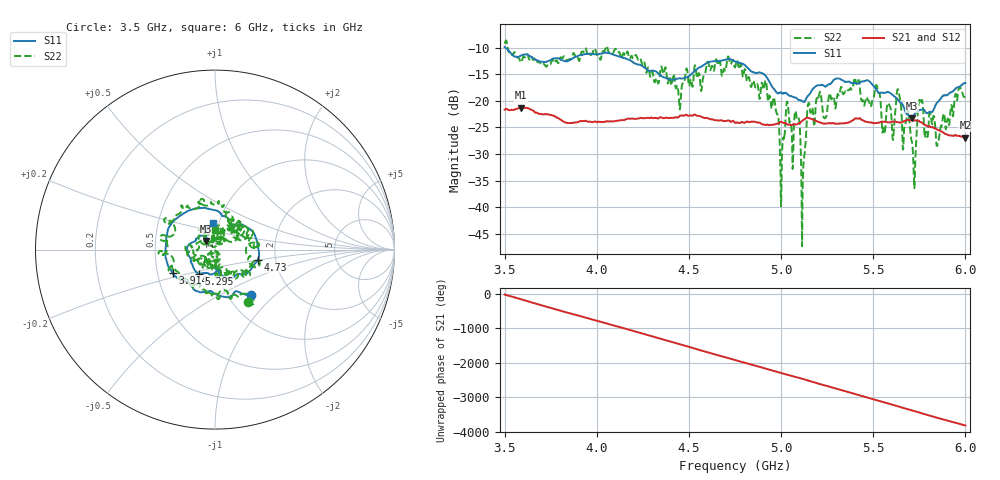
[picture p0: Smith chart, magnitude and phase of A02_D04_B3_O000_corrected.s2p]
! Created with skrf 1.9.0 (http://scikit-rf.org).
# Hz S RI R 50.0
!freq ReS11 ImS11 ReS21 ImS21 ReS12 ImS12 ReS22 ImS22
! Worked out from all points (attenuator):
!   1601 points, 3.5 GHz to 6 GHz, reference 50 ohm
!   highest |S21| = -21.25 dB at 3.591 GHz (marker M1); lowest = -26.9 dB at 6 GHz (marker M2)
!   lowest |S11| = -23.3 dB at 5.708 GHz (marker M3), VSWR 1.15, Z = 45.2 + j4.42 ohm
!   |S11| at or under -10 dB: 3.506 GHz to end of sweep
!   |S22| runs from -47.4 to -8.6 dB; largest |S21 - S12| = 0.0012
!   S11 on the Smith chart (normalised r, x): 3.5 GHz: 1.28, -0.72; 3.914 GHz: 0.60, -0.17; 4.73 GHz: 1.61, -0.19; 5.295 GHz: 0.81, -0.22; 6 GHz: 0.93, +0.28
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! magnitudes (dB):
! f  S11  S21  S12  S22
! 3.5 GHz  -9.8  -21.6  -21.6  -9.2
! 3.591 GHz  -11.4  -21.3  -21.2  -12.7
! 3.914 GHz  -11.4  -23.8  -23.7  -11.1
! 3.917 GHz  -11.4  -23.8  -23.8  -10.8
! 4.334 GHz  -14.8  -23.3  -23.2  -16.7
! 4.73 GHz  -12.2  -23.9  -23.8  -12.9
! 4.75 GHz  -12.6  -24.1  -24.0  -13.7
! 4.966 GHz  -17.9  -24.4  -24.4  -20.1
! 5.005 GHz  -18.5  -24.0  -24.0  -30.5
! 5.031 GHz  -18.6  -24.4  -24.3  -20.2
! 5.086 GHz  -19.5  -24.4  -24.3  -23.4
! 5.119 GHz  -20.1  -23.6  -23.5  -34.0
! 5.145 GHz  -19.1  -23.2  -23.1  -20.7
! 5.167 GHz  -18.0  -23.4  -23.3  -21.3
! 5.295 GHz  -15.8  -24.3  -24.2  -21.4
! 5.584 GHz  -18.4  -24.0  -24.0  -20.6
! 5.638 GHz  -20.0  -24.0  -24.0  -18.2
! 5.708 GHz  -23.3  -23.7  -23.6  -27.4
! 5.725 GHz  -22.5  -23.7  -23.6  -35.0
! 5.756 GHz  -21.7  -24.0  -23.9  -20.4
! 5.85 GHz  -20.2  -25.4  -25.3  -27.8
! 6 GHz  -16.6  -26.9  -26.8  -19.2
